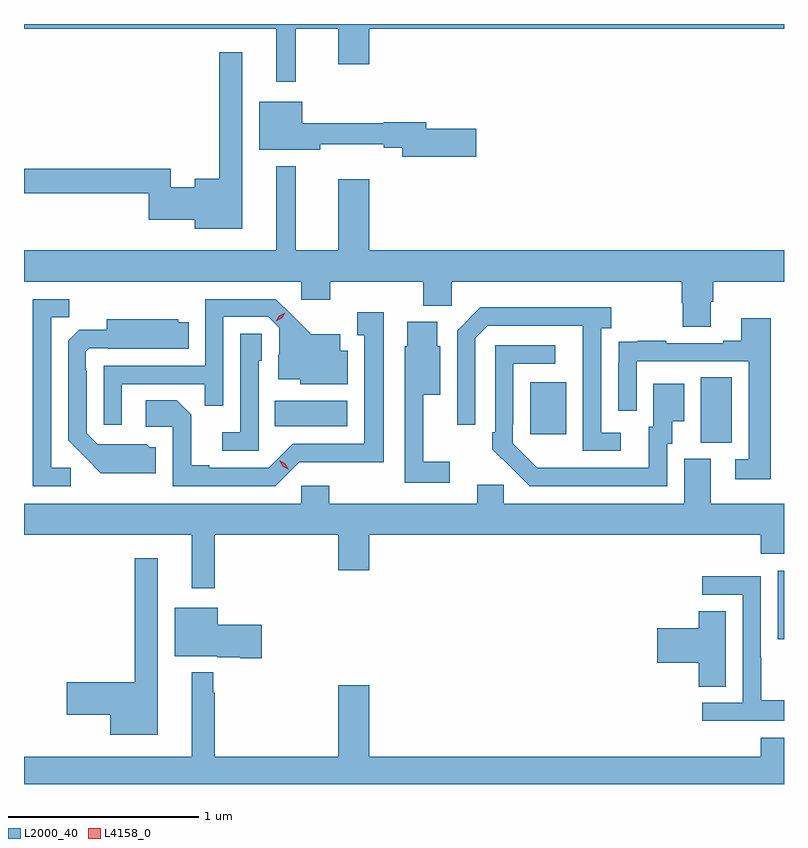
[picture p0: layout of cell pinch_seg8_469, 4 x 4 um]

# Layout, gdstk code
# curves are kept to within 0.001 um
import gdstk
lib = gdstk.Library(unit=1e-6, precision=1e-09)
def R(c, l, rs):  # rectangles x0, y0, x1, y1
    for r in rs: c.add(gdstk.rectangle(r[:2], r[2:], *l))
def P(c, l, *ps):  # polygons
    for p in ps: c.add(gdstk.Polygon(p, *l))
L2000_40 = (2000, 40)
L4158_0 = (4158, 0)

pinch_seg8_469 = lib.new_cell('pinch_seg8_469')
R(pinch_seg8_469, L2000_40, [(191.297,1125.273,191.33,1125.634), (190.892,1126.309,191.056,1126.652), (189.995,1126.353,190.183,1126.627), (188.65,1126.394,189.031,1126.528)])
P(pinch_seg8_469, L2000_40, [(188.761,1128.488),(188.984,1128.488),(188.984,1128.3),(189.148,1128.3),(189.148,1128.488),(191.33,1128.488),(191.33,1128.512),(187.33,1128.512),(187.33,1128.488),(188.657,1128.488),(188.657,1128.207),(188.761,1128.207)],
  [(188.479,1128.364),(188.358,1128.364),(188.358,1127.698),(188.228,1127.698),(188.228,1127.654),(188.103,1127.654),(188.103,1127.75),(187.33,1127.75),(187.33,1127.622),(187.987,1127.622),(187.987,1127.483),(188.228,1127.483),(188.228,1127.435),(188.479,1127.435)],
  [(189.709,1127.96),(189.448,1127.96),(189.448,1127.996),(189.224,1127.996),(189.224,1127.989),(188.794,1127.989),(188.794,1128.103),(188.567,1128.103),(188.567,1127.849),(188.89,1127.849),(188.89,1127.879),(189.224,1127.879),(189.224,1127.86),(189.32,1127.86),(189.32,1127.813),(189.709,1127.813)],
  [(190.945,1127.05),(190.958,1127.05),(190.958,1127.156),(191.33,1127.156),(191.33,1127.32),(189.148,1127.32),(189.148,1127.695),(188.984,1127.695),(188.984,1127.32),(188.761,1127.32),(188.761,1127.764),(188.657,1127.764),(188.657,1127.32),(187.33,1127.32),(187.33,1127.156),(188.79,1127.156),(188.79,1127.061),(188.942,1127.061),(188.942,1127.156),(189.431,1127.156),(189.431,1127.029),(189.582,1127.029),(189.582,1127.156),(190.793,1127.156),(190.793,1127.043),(190.798,1127.043),(190.798,1126.918),(190.945,1126.918)],
  [(187.845,1126.617),(188.281,1126.617),(188.281,1126.504),(188.379,1126.504),(188.379,1126.971),(188.616,1126.971),(188.673,1126.914),(188.673,1126.772),(188.669,1126.772),(188.669,1126.643),(188.784,1126.643),(188.784,1126.616),(189.034,1126.616),(189.034,1126.792),(188.995,1126.792),(188.995,1126.879),(188.843,1126.879),(188.656,1127.064),(188.283,1127.064),(188.283,1126.713),(187.749,1126.713),(187.749,1126.404),(187.845,1126.404)],
  [(187.576,1126.176),(187.473,1126.176),(187.473,1126.969),(187.569,1126.969),(187.569,1127.064),(187.377,1127.064),(187.377,1126.08),(187.576,1126.08)],
  [(190.471,1126.362),(190.368,1126.362),(190.368,1126.91),(190.42,1126.91),(190.42,1127.02),(189.732,1127.02),(189.609,1126.897),(189.609,1126.404),(189.705,1126.404),(189.705,1126.857),(189.771,1126.923),(190.271,1126.923),(190.272,1126.266),(190.471,1126.266)],
  [(188.778,1126.206),(189.223,1126.205),(189.223,1126.996),(189.083,1126.996),(189.083,1126.875),(189.122,1126.875),(189.122,1126.302),(188.745,1126.302),(188.619,1126.176),(188.305,1126.176),(188.305,1126.189),(188.211,1126.189),(188.211,1126.456),(188.135,1126.532),(187.971,1126.532),(187.971,1126.392),(188.112,1126.392),(188.112,1126.08),(188.652,1126.08)],
  [(191.261,1126.963),(191.105,1126.963),(191.105,1126.846),(191.009,1126.846),(191.009,1126.833),(190.709,1126.833),(190.709,1126.846),(190.561,1126.846),(190.561,1126.839),(190.459,1126.839),(190.459,1126.73),(190.458,1126.73),(190.458,1126.476),(190.554,1126.476),(190.554,1126.737),(191.145,1126.737),(191.145,1126.221),(191.073,1126.221),(191.073,1126.116),(191.261,1126.116)],
  [(188.023,1126.284),(187.992,1126.284),(187.976,1126.3),(187.719,1126.299),(187.659,1126.359),(187.659,1126.688),(187.656,1126.688),(187.656,1126.788),(187.674,1126.806),(187.774,1126.806),(187.774,1126.802),(188.198,1126.802),(188.198,1126.942),(188.142,1126.942),(188.142,1126.957),(187.766,1126.957),(187.766,1126.903),(187.622,1126.903),(187.563,1126.844),(187.563,1126.322),(187.735,1126.148),(188.023,1126.148)],
  [(189.571,1126.207),(189.431,1126.207),(189.431,1126.562),(189.52,1126.562),(189.52,1126.815),(189.505,1126.815),(189.505,1126.944),(189.347,1126.944),(189.347,1126.815),(189.333,1126.815),(189.333,1126.098),(189.571,1126.098)],
  [(188.565,1126.74),(188.58,1126.74),(188.58,1126.883),(188.469,1126.883),(188.469,1126.363),(188.373,1126.363),(188.373,1126.266),(188.565,1126.266)],
  [(190.716,1126.302),(190.741,1126.302),(190.741,1126.421),(190.804,1126.421),(190.804,1126.618),(190.643,1126.618),(190.643,1126.392),(190.619,1126.392),(190.619,1126.176),(190.032,1126.177),(189.903,1126.305),(189.903,1126.405),(189.906,1126.405),(189.906,1126.725),(190.126,1126.725),(190.126,1126.821),(189.81,1126.821),(189.81,1126.363),(189.795,1126.363),(189.795,1126.275),(189.992,1126.08),(190.716,1126.08)],
  [(191.207,1125.725),(191.33,1125.725),(191.33,1125.988),(190.945,1125.988),(190.945,1126.224),(190.805,1126.224),(190.805,1125.988),(189.855,1125.988),(189.855,1126.086),(189.716,1126.086),(189.716,1125.988),(188.937,1125.988),(188.937,1126.081),(188.79,1126.081),(188.79,1125.988),(187.33,1125.988),(187.33,1125.824),(188.213,1125.824),(188.213,1125.543),(188.335,1125.543),(188.335,1125.824),(188.984,1125.824),(188.984,1125.636),(189.148,1125.636),(189.148,1125.824),(191.207,1125.824)],
  [(188.035,1125.7),(187.914,1125.7),(187.914,1125.047),(187.554,1125.047),(187.554,1124.876),(187.784,1124.876),(187.784,1124.771),(188.035,1124.771)],
  [(191.33,1124.953),(191.211,1124.953),(191.211,1125.176),(191.208,1125.176),(191.208,1125.606),(190.899,1125.606),(190.899,1125.507),(191.112,1125.507),(191.112,1124.94),(190.899,1124.94),(190.899,1124.844),(191.33,1124.844)],
  [(188.581,1125.351),(188.35,1125.351),(188.35,1125.439),(188.123,1125.439),(188.123,1125.185),(188.346,1125.185),(188.346,1125.179),(188.468,1125.179),(188.468,1125.173),(188.581,1125.173)],
  [(191.023,1125.422),(190.88,1125.422),(190.88,1125.332),(190.662,1125.332),(190.662,1125.149),(190.88,1125.149),(190.88,1125.025),(191.023,1125.025)],
  [(191.33,1124.755),(191.207,1124.755),(191.207,1124.656),(189.148,1124.656),(189.148,1125.031),(188.984,1125.031),(188.984,1124.656),(188.335,1124.656),(188.335,1124.993),(188.327,1124.993),(188.327,1125.1),(188.213,1125.1),(188.213,1124.656),(187.33,1124.656),(187.33,1124.512),(191.33,1124.512)])
P(pinch_seg8_469, L4158_0, [(188.723,1126.165),(188.691,1126.184),(188.674,1126.217),(188.674,1126.217),(188.674,1126.217),(188.706,1126.198),(188.723,1126.166),(188.723,1126.165)],
  [(188.656,1126.947),(188.656,1126.947),(188.673,1126.977),(188.704,1126.993),(188.704,1126.993),(188.704,1126.993),(188.687,1126.963),(188.656,1126.947)])

lib.write_gds('pinch_seg8_469.gds')
